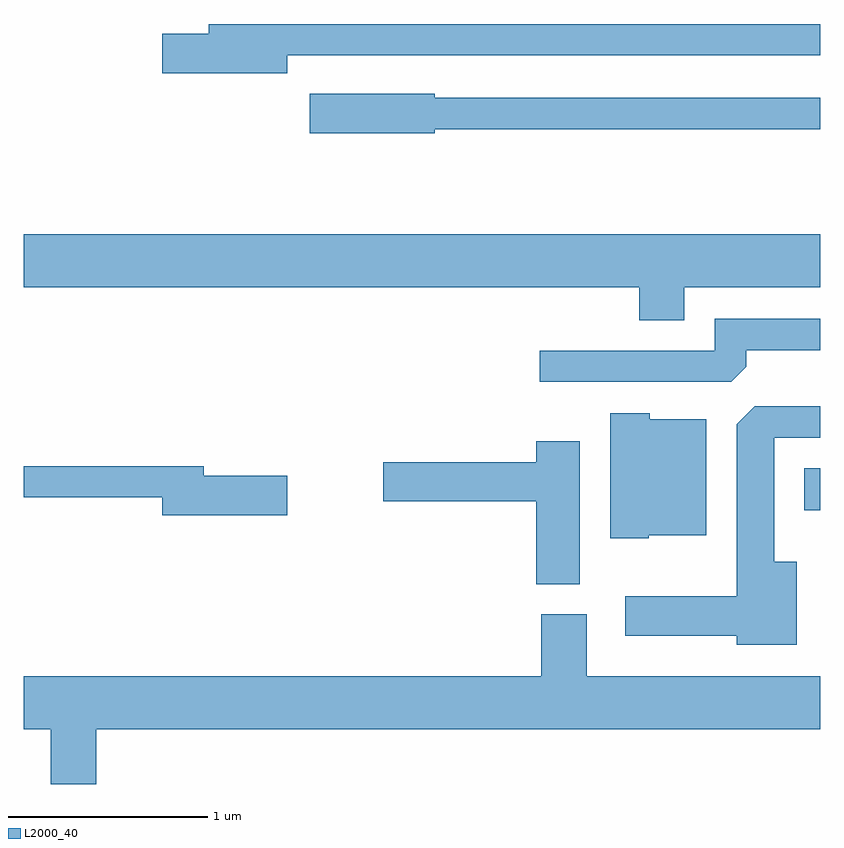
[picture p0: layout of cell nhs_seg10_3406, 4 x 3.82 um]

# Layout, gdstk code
import gdstk
lib = gdstk.Library(unit=1e-6, precision=1e-09)
def R(c, l, rs):  # rectangles x0, y0, x1, y1
    for r in rs: c.add(gdstk.rectangle(r[:2], r[2:], *l))
def P(c, l, *ps):  # polygons
    for p in ps: c.add(gdstk.Polygon(p, *l))
L2000_40 = (2000, 40)

nhs_seg10_3406 = lib.new_cell('nhs_seg10_3406')
R(nhs_seg10_3406, L2000_40, [(289.531,2123.896,289.611,2124.109)])
P(nhs_seg10_3406, L2000_40, [(286.934,2126.181),(289.611,2126.181),(289.611,2126.339),(286.541,2126.339),(286.541,2126.289),(286.306,2126.289),(286.306,2126.091),(286.934,2126.091)],
  [(287.674,2125.811),(289.611,2125.811),(289.611,2125.969),(287.674,2125.969),(287.674,2125.989),(287.046,2125.989),(287.046,2125.791),(287.674,2125.791)],
  [(288.929,2125.016),(289.611,2125.016),(289.611,2125.284),(285.611,2125.284),(285.611,2125.016),(288.701,2125.016),(288.701,2124.851),(288.929,2124.851)],
  [(289.239,2124.617),(289.239,2124.701),(289.611,2124.701),(289.611,2124.859),(289.081,2124.859),(289.081,2124.699),(288.203,2124.699),(288.203,2124.541),(289.164,2124.541)],
  [(289.494,2123.639),(289.379,2123.639),(289.379,2124.261),(289.611,2124.261),(289.611,2124.419),(289.282,2124.419),(289.191,2124.329),(289.191,2123.464),(288.631,2123.464),(288.631,2123.266),(289.191,2123.266),(289.191,2123.221),(289.494,2123.221)],
  [(288.75,2123.771),(289.039,2123.771),(289.039,2124.354),(288.754,2124.354),(288.754,2124.384),(288.556,2124.384),(288.556,2123.756),(288.75,2123.756)],
  [(288.404,2124.244),(288.186,2124.244),(288.186,2124.139),(287.416,2124.139),(287.416,2123.941),(288.186,2123.941),(288.186,2123.526),(288.404,2123.526)],
  [(286.934,2124.069),(286.514,2124.069),(286.514,2124.119),(285.611,2124.119),(285.611,2123.961),(286.306,2123.961),(286.306,2123.871),(286.934,2123.871)],
  [(285.974,2122.796),(289.611,2122.796),(289.611,2123.064),(288.439,2123.064),(288.439,2123.374),(288.211,2123.374),(288.211,2123.064),(285.611,2123.064),(285.611,2122.796),(285.746,2122.796),(285.746,2122.522),(285.974,2122.522)])

lib.write_gds('nhs_seg10_3406.gds')
